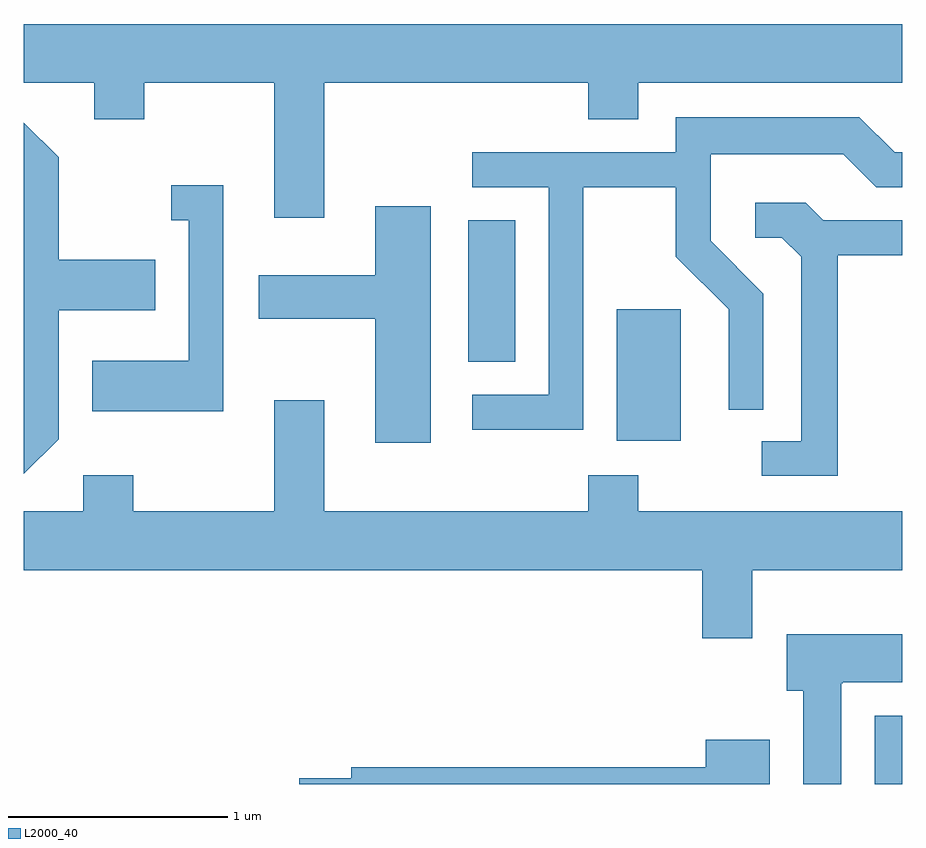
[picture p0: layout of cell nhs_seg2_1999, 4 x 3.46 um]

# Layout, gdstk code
import gdstk
lib = gdstk.Library(unit=1e-6, precision=1e-09)
def R(c, l, rs):  # rectangles x0, y0, x1, y1
    for r in rs: c.add(gdstk.rectangle(r[:2], r[2:], *l))
def P(c, l, *ps):  # polygons
    for p in ps: c.add(gdstk.Polygon(p, *l))
L2000_40 = (2000, 40)

nhs_seg2_1999 = lib.new_cell('nhs_seg2_1999')
R(nhs_seg2_1999, L2000_40, [(247.486,1031.802,247.611,1032.114), (246.311,1033.366,246.604,1033.964), (245.636,1033.726,245.849,1034.369)])
P(nhs_seg2_1999, L2000_40, [(244.979,1034.996),(246.181,1034.996),(246.181,1034.831),(246.409,1034.831),(246.409,1034.996),(247.611,1034.996),(247.611,1035.264),(243.611,1035.264),(243.611,1034.996),(243.931,1034.996),(243.931,1034.831),(244.159,1034.831),(244.159,1034.996),(244.751,1034.996),(244.751,1034.381),(244.979,1034.381)],
  [(246.159,1034.521),(246.581,1034.521),(246.581,1034.204),(246.821,1033.964),(246.821,1033.507),(246.979,1033.507),(246.979,1034.036),(246.739,1034.277),(246.739,1034.671),(247.344,1034.671),(247.494,1034.521),(247.611,1034.521),(247.611,1034.679),(247.577,1034.679),(247.417,1034.839),(246.581,1034.839),(246.581,1034.679),(245.653,1034.679),(245.653,1034.521),(246.001,1034.521),(246.001,1033.574),(245.653,1033.574),(245.653,1033.416),(246.159,1033.416)],
  [(243.769,1033.373),(243.769,1033.961),(244.209,1033.961),(244.209,1034.189),(243.769,1034.189),(243.769,1034.657),(243.611,1034.815),(243.611,1033.215)],
  [(244.519,1034.529),(244.283,1034.529),(244.283,1034.371),(244.361,1034.371),(244.361,1033.729),(243.921,1033.729),(243.921,1033.501),(244.519,1033.501)],
  [(247.319,1034.211),(247.611,1034.211),(247.611,1034.369),(247.252,1034.369),(247.172,1034.449),(246.943,1034.449),(246.943,1034.291),(247.064,1034.291),(247.151,1034.204),(247.151,1033.364),(246.973,1033.364),(246.973,1033.206),(247.319,1033.206)],
  [(245.464,1034.434),(245.211,1034.434),(245.211,1034.119),(244.681,1034.119),(244.681,1033.921),(245.211,1033.921),(245.211,1033.356),(245.464,1033.356)],
  [(246.929,1032.776),(247.611,1032.776),(247.611,1033.044),(246.409,1033.044),(246.409,1033.209),(246.181,1033.209),(246.181,1033.044),(244.979,1033.044),(244.979,1033.549),(244.751,1033.549),(244.751,1033.044),(244.109,1033.044),(244.109,1033.209),(243.881,1033.209),(243.881,1033.044),(243.611,1033.044),(243.611,1032.776),(246.701,1032.776),(246.701,1032.466),(246.929,1032.466)],
  [(247.334,1032.26),(247.34,1032.26),(247.34,1032.266),(247.611,1032.266),(247.611,1032.484),(247.086,1032.484),(247.086,1032.226),(247.161,1032.226),(247.161,1031.802),(247.334,1031.802)],
  [(247.009,1032.004),(246.716,1032.004),(246.716,1031.879),(245.101,1031.879),(245.101,1031.829),(244.866,1031.829),(244.866,1031.802),(247.009,1031.802)])

lib.write_gds('nhs_seg2_1999.gds')
